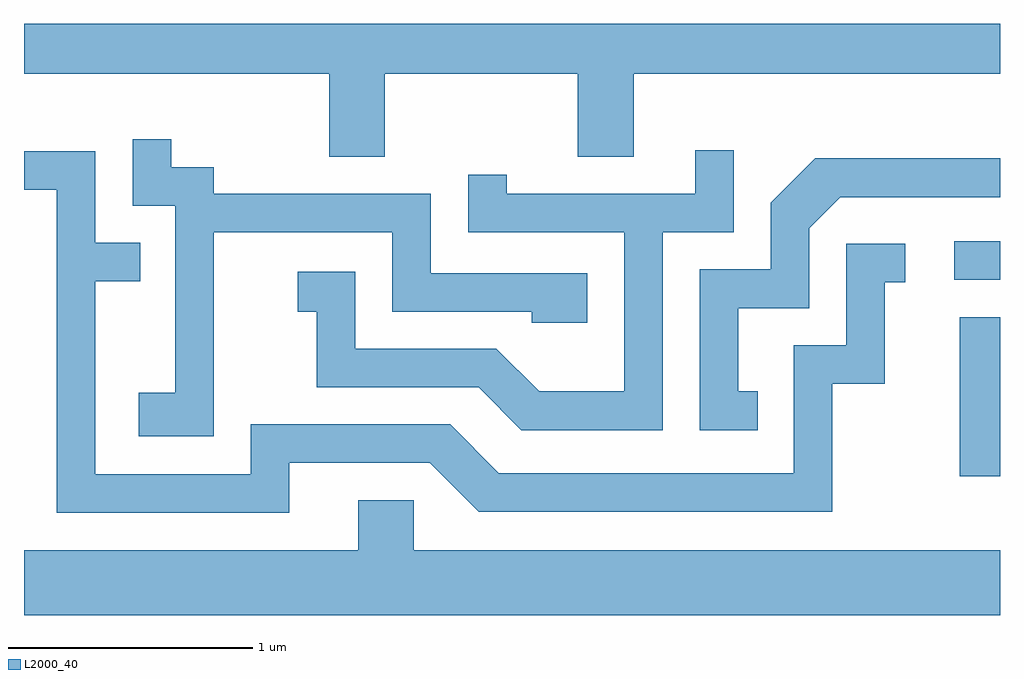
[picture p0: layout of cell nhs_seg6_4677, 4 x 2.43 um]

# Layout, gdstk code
import gdstk
lib = gdstk.Library(unit=1e-6, precision=1e-09)
def R(c, l, rs):  # rectangles x0, y0, x1, y1
    for r in rs: c.add(gdstk.rectangle(r[:2], r[2:], *l))
def P(c, l, *ps):  # polygons
    for p in ps: c.add(gdstk.Polygon(p, *l))
L2000_40 = (2000, 40)

nhs_seg6_4677 = lib.new_cell('nhs_seg6_4677')
R(nhs_seg6_4677, L2000_40, [(331.446,1628.306,331.611,1628.959), (331.423,1629.111,331.611,1629.269)])
P(nhs_seg6_4677, L2000_40, [(329.089,1629.956),(329.881,1629.956),(329.881,1629.616),(330.109,1629.616),(330.109,1629.956),(331.611,1629.956),(331.611,1630.162),(327.611,1630.162),(327.611,1629.956),(328.861,1629.956),(328.861,1629.616),(329.089,1629.616)],
  [(328.389,1629.306),(329.121,1629.306),(329.121,1628.981),(329.691,1628.981),(329.691,1628.936),(329.919,1628.936),(329.919,1629.139),(329.279,1629.139),(329.279,1629.464),(328.389,1629.464),(328.389,1629.574),(328.214,1629.574),(328.214,1629.688),(328.056,1629.688),(328.056,1629.416),(328.231,1629.416),(328.231,1628.649),(328.081,1628.649),(328.081,1628.471),(328.389,1628.471)],
  [(330.229,1629.306),(330.519,1629.306),(330.519,1629.643),(330.361,1629.643),(330.361,1629.464),(329.589,1629.464),(329.589,1629.543),(329.431,1629.543),(329.431,1629.306),(330.071,1629.306),(330.071,1628.654),(329.722,1628.654),(329.547,1628.829),(328.969,1628.829),(328.969,1629.144),(328.733,1629.144),(328.733,1628.981),(328.811,1628.981),(328.811,1628.671),(329.474,1628.671),(329.649,1628.496),(330.229,1628.496)],
  [(328.699,1628.361),(329.274,1628.361),(329.474,1628.161),(330.924,1628.161),(330.924,1628.686),(331.139,1628.686),(331.139,1629.101),(331.223,1629.101),(331.223,1629.259),(330.981,1629.259),(330.981,1628.844),(330.766,1628.844),(330.766,1628.319),(329.557,1628.319),(329.357,1628.519),(328.541,1628.519),(328.541,1628.314),(327.904,1628.314),(327.904,1629.106),(328.088,1629.106),(328.088,1629.264),(327.904,1629.264),(327.904,1629.639),(327.611,1629.639),(327.611,1629.481),(327.746,1629.481),(327.746,1628.156),(328.699,1628.156)],
  [(330.618,1628.654),(330.539,1628.654),(330.539,1628.996),(330.829,1628.996),(330.829,1629.324),(330.957,1629.451),(331.611,1629.451),(331.611,1629.609),(330.854,1629.609),(330.671,1629.427),(330.671,1629.154),(330.381,1629.154),(330.381,1628.496),(330.618,1628.496)],
  [(331.611,1628.004),(329.209,1628.004),(329.209,1628.209),(328.981,1628.209),(328.981,1628.004),(327.611,1628.004),(327.611,1627.736),(331.611,1627.736)])

lib.write_gds('nhs_seg6_4677.gds')
